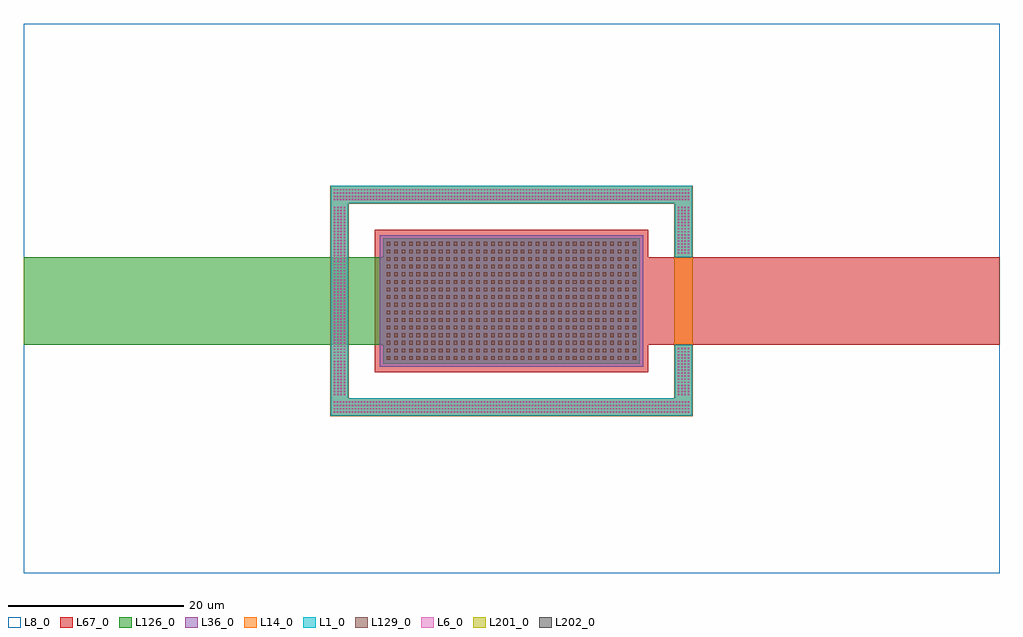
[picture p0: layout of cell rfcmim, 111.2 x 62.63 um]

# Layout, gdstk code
import gdstk
lib = gdstk.Library(unit=1e-6, precision=1e-09)
def R(c, l, rs):  # rectangles x0, y0, x1, y1
    for r in rs: c.add(gdstk.rectangle(r[:2], r[2:], *l))
def A(c, l, x, y, w, h, nx, ny, dx, dy):  # array of equal rectangles
    R(c, l, [(x+i*dx, y+j*dy, x+i*dx+w, y+j*dy+h) for i in range(nx) for j in range(ny)])
def P(c, l, *ps):  # polygons
    for p in ps: c.add(gdstk.Polygon(p, *l))
L1_0 = (1, 0)
L6_0 = (6, 0)
L8_0 = (8, 0)
L14_0 = (14, 0)
L36_0 = (36, 0)
L67_0 = (67, 0)
L126_0 = (126, 0)
L129_0 = (129, 0)
L201_0 = (201, 0)
L202_0 = (202, 0)

rfcmim = lib.new_cell('rfcmim')
P(rfcmim, L1_0, [(3.62,5.75),(3.62,31.95),(44.82,31.95),(44.82,23.85),(42.82,23.85),(42.82,29.95),(5.62,29.95),(5.62,7.75),(42.82,7.75),(42.82,13.85),(44.82,13.85),(44.82,5.75)])
A(rfcmim, L6_0, 3.98, 6.11, 0.16, 0.16, 3, 2, 0.34, 0.37)
A(rfcmim, L6_0, 5.005, 6.11, 0.16, 0.16, 3, 2, 0.34, 0.37)
A(rfcmim, L6_0, 6.03, 6.11, 0.16, 0.16, 3, 2, 0.34, 0.37)
A(rfcmim, L6_0, 7.055, 6.11, 0.16, 0.16, 3, 2, 0.34, 0.37)
A(rfcmim, L6_0, 8.08, 6.11, 0.16, 0.16, 3, 2, 0.34, 0.37)
A(rfcmim, L6_0, 9.105, 6.11, 0.16, 0.16, 3, 2, 0.34, 0.37)
A(rfcmim, L6_0, 10.13, 6.11, 0.16, 0.16, 3, 2, 0.34, 0.37)
A(rfcmim, L6_0, 11.155, 6.11, 0.16, 0.16, 3, 2, 0.34, 0.37)
A(rfcmim, L6_0, 12.18, 6.11, 0.16, 0.16, 3, 2, 0.34, 0.37)
A(rfcmim, L6_0, 13.205, 6.11, 0.16, 0.16, 3, 2, 0.34, 0.37)
A(rfcmim, L6_0, 14.23, 6.11, 0.16, 0.16, 3, 2, 0.34, 0.37)
A(rfcmim, L6_0, 15.255, 6.11, 0.16, 0.16, 3, 2, 0.34, 0.37)
A(rfcmim, L6_0, 16.28, 6.11, 0.16, 0.16, 3, 2, 0.34, 0.37)
A(rfcmim, L6_0, 17.305, 6.11, 0.16, 0.16, 3, 2, 0.34, 0.37)
A(rfcmim, L6_0, 18.33, 6.11, 0.16, 0.16, 3, 2, 0.34, 0.37)
A(rfcmim, L6_0, 19.355, 6.11, 0.16, 0.16, 3, 2, 0.34, 0.37)
A(rfcmim, L6_0, 20.38, 6.11, 0.16, 0.16, 3, 2, 0.34, 0.37)
A(rfcmim, L6_0, 21.405, 6.11, 0.16, 0.16, 3, 2, 0.34, 0.37)
A(rfcmim, L6_0, 22.43, 6.11, 0.16, 0.16, 3, 2, 0.34, 0.37)
A(rfcmim, L6_0, 24.14, 6.11, 0.16, 0.16, 3, 2, 0.34, 0.37)
A(rfcmim, L6_0, 25.165, 6.11, 0.16, 0.16, 3, 2, 0.34, 0.37)
A(rfcmim, L6_0, 26.19, 6.11, 0.16, 0.16, 3, 2, 0.34, 0.37)
A(rfcmim, L6_0, 27.215, 6.11, 0.16, 0.16, 3, 2, 0.34, 0.37)
A(rfcmim, L6_0, 28.24, 6.11, 0.16, 0.16, 3, 2, 0.34, 0.37)
A(rfcmim, L6_0, 29.265, 6.11, 0.16, 0.16, 3, 2, 0.34, 0.37)
A(rfcmim, L6_0, 30.29, 6.11, 0.16, 0.16, 3, 2, 0.34, 0.37)
A(rfcmim, L6_0, 31.315, 6.11, 0.16, 0.16, 3, 2, 0.34, 0.37)
A(rfcmim, L6_0, 32.34, 6.11, 0.16, 0.16, 3, 2, 0.34, 0.37)
A(rfcmim, L6_0, 33.365, 6.11, 0.16, 0.16, 3, 2, 0.34, 0.37)
A(rfcmim, L6_0, 34.39, 6.11, 0.16, 0.16, 3, 2, 0.34, 0.37)
A(rfcmim, L6_0, 35.415, 6.11, 0.16, 0.16, 3, 2, 0.34, 0.37)
A(rfcmim, L6_0, 36.44, 6.11, 0.16, 0.16, 3, 2, 0.34, 0.37)
A(rfcmim, L6_0, 37.465, 6.11, 0.16, 0.16, 3, 2, 0.34, 0.37)
A(rfcmim, L6_0, 38.49, 6.11, 0.16, 0.16, 3, 2, 0.34, 0.37)
A(rfcmim, L6_0, 39.515, 6.11, 0.16, 0.16, 3, 2, 0.34, 0.37)
A(rfcmim, L6_0, 40.54, 6.11, 0.16, 0.16, 3, 2, 0.34, 0.37)
A(rfcmim, L6_0, 41.565, 6.11, 0.16, 0.16, 3, 2, 0.34, 0.37)
A(rfcmim, L6_0, 42.59, 6.11, 0.16, 0.16, 3, 2, 0.34, 0.37)
A(rfcmim, L6_0, 23.455, 6.48, 0.16, 0.16, 1, 3, 0, 0.375)
A(rfcmim, L6_0, 23.795, 6.48, 0.16, 0.16, 1, 3, 0, 0.375)
A(rfcmim, L6_0, 43.615, 6.48, 0.16, 0.16, 1, 3, 0, 0.375)
A(rfcmim, L6_0, 43.955, 6.48, 0.16, 0.16, 1, 3, 0, 0.375)
A(rfcmim, L6_0, 44.3, 6.48, 0.16, 0.16, 1, 3, 0, 0.375)
A(rfcmim, L6_0, 3.98, 6.855, 0.16, 0.16, 3, 2, 0.34, 0.375)
A(rfcmim, L6_0, 5.005, 6.855, 0.16, 0.16, 3, 2, 0.34, 0.375)
A(rfcmim, L6_0, 6.03, 6.855, 0.16, 0.16, 3, 2, 0.34, 0.375)
A(rfcmim, L6_0, 7.055, 6.855, 0.16, 0.16, 3, 2, 0.34, 0.375)
A(rfcmim, L6_0, 8.08, 6.855, 0.16, 0.16, 3, 2, 0.34, 0.375)
A(rfcmim, L6_0, 9.105, 6.855, 0.16, 0.16, 3, 2, 0.34, 0.375)
A(rfcmim, L6_0, 10.13, 6.855, 0.16, 0.16, 3, 2, 0.34, 0.375)
A(rfcmim, L6_0, 11.155, 6.855, 0.16, 0.16, 3, 2, 0.34, 0.375)
A(rfcmim, L6_0, 12.18, 6.855, 0.16, 0.16, 3, 2, 0.34, 0.375)
A(rfcmim, L6_0, 13.205, 6.855, 0.16, 0.16, 3, 2, 0.34, 0.375)
A(rfcmim, L6_0, 14.23, 6.855, 0.16, 0.16, 3, 2, 0.34, 0.375)
A(rfcmim, L6_0, 15.255, 6.855, 0.16, 0.16, 3, 2, 0.34, 0.375)
A(rfcmim, L6_0, 16.28, 6.855, 0.16, 0.16, 3, 2, 0.34, 0.375)
A(rfcmim, L6_0, 17.305, 6.855, 0.16, 0.16, 3, 2, 0.34, 0.375)
A(rfcmim, L6_0, 18.33, 6.855, 0.16, 0.16, 3, 2, 0.34, 0.375)
A(rfcmim, L6_0, 19.355, 6.855, 0.16, 0.16, 3, 2, 0.34, 0.375)
A(rfcmim, L6_0, 20.38, 6.855, 0.16, 0.16, 3, 2, 0.34, 0.375)
A(rfcmim, L6_0, 21.405, 6.855, 0.16, 0.16, 3, 2, 0.34, 0.375)
A(rfcmim, L6_0, 22.43, 6.855, 0.16, 0.16, 3, 2, 0.34, 0.375)
A(rfcmim, L6_0, 24.14, 6.855, 0.16, 0.16, 3, 2, 0.34, 0.375)
A(rfcmim, L6_0, 25.165, 6.855, 0.16, 0.16, 3, 2, 0.34, 0.375)
A(rfcmim, L6_0, 26.19, 6.855, 0.16, 0.16, 3, 2, 0.34, 0.375)
A(rfcmim, L6_0, 27.215, 6.855, 0.16, 0.16, 3, 2, 0.34, 0.375)
A(rfcmim, L6_0, 28.24, 6.855, 0.16, 0.16, 3, 2, 0.34, 0.375)
A(rfcmim, L6_0, 29.265, 6.855, 0.16, 0.16, 3, 2, 0.34, 0.375)
A(rfcmim, L6_0, 30.29, 6.855, 0.16, 0.16, 3, 2, 0.34, 0.375)
A(rfcmim, L6_0, 31.315, 6.855, 0.16, 0.16, 3, 2, 0.34, 0.375)
A(rfcmim, L6_0, 32.34, 6.855, 0.16, 0.16, 3, 2, 0.34, 0.375)
A(rfcmim, L6_0, 33.365, 6.855, 0.16, 0.16, 3, 2, 0.34, 0.375)
A(rfcmim, L6_0, 34.39, 6.855, 0.16, 0.16, 3, 2, 0.34, 0.375)
A(rfcmim, L6_0, 35.415, 6.855, 0.16, 0.16, 3, 2, 0.34, 0.375)
A(rfcmim, L6_0, 36.44, 6.855, 0.16, 0.16, 3, 2, 0.34, 0.375)
A(rfcmim, L6_0, 37.465, 6.855, 0.16, 0.16, 3, 2, 0.34, 0.375)
A(rfcmim, L6_0, 38.49, 6.855, 0.16, 0.16, 3, 2, 0.34, 0.375)
A(rfcmim, L6_0, 39.515, 6.855, 0.16, 0.16, 3, 2, 0.34, 0.375)
A(rfcmim, L6_0, 40.54, 6.855, 0.16, 0.16, 3, 2, 0.34, 0.375)
A(rfcmim, L6_0, 41.565, 6.855, 0.16, 0.16, 3, 2, 0.34, 0.375)
A(rfcmim, L6_0, 42.59, 6.855, 0.16, 0.16, 3, 2, 0.34, 0.375)
A(rfcmim, L6_0, 4.35, 8.11, 0.16, 0.16, 3, 2, 0.375, 0.34)
A(rfcmim, L6_0, 43.55, 8.11, 0.16, 0.16, 3, 2, 0.375, 0.345)
A(rfcmim, L6_0, 3.98, 8.45, 0.16, 0.16, 1, 4, 0, 0.345)
A(rfcmim, L6_0, 4.35, 8.795, 0.16, 0.16, 3, 3, 0.375, 0.345)
A(rfcmim, L6_0, 43.55, 8.805, 0.16, 0.16, 3, 2, 0.375, 0.345)
A(rfcmim, L6_0, 43.18, 9.15, 0.16, 0.16, 1, 3, 0, 0.35)
A(rfcmim, L6_0, 43.55, 9.5, 0.16, 0.16, 3, 2, 0.375, 0.35)
A(rfcmim, L6_0, 3.98, 9.825, 0.16, 0.16, 1, 4, 0, 0.345)
A(rfcmim, L6_0, 4.35, 9.825, 0.16, 0.16, 3, 4, 0.375, 0.345)
A(rfcmim, L6_0, 43.55, 10.195, 0.16, 0.16, 3, 2, 0.375, 0.35)
A(rfcmim, L6_0, 43.18, 10.89, 0.16, 0.16, 1, 3, 0, 0.35)
A(rfcmim, L6_0, 43.55, 10.89, 0.16, 0.16, 3, 3, 0.375, 0.35)
A(rfcmim, L6_0, 3.98, 11.2, 0.16, 0.16, 1, 5, 0, 0.345)
A(rfcmim, L6_0, 4.35, 11.2, 0.16, 0.16, 3, 5, 0.375, 0.345)
A(rfcmim, L6_0, 43.55, 11.935, 0.16, 0.16, 3, 2, 0.375, 0.35)
A(rfcmim, L6_0, 43.18, 12.63, 0.16, 0.16, 1, 3, 0, 0.35)
A(rfcmim, L6_0, 43.55, 12.63, 0.16, 0.16, 3, 3, 0.375, 0.35)
A(rfcmim, L6_0, 3.98, 12.92, 0.16, 0.16, 1, 4, 0, 0.345)
A(rfcmim, L6_0, 4.35, 12.92, 0.16, 0.16, 3, 4, 0.375, 0.345)
A(rfcmim, L6_0, 3.98, 14.295, 0.16, 0.16, 1, 5, 0, 0.345)
A(rfcmim, L6_0, 4.35, 14.295, 0.16, 0.16, 3, 5, 0.375, 0.345)
A(rfcmim, L6_0, 3.98, 16.015, 0.16, 0.16, 1, 4, 0, 0.345)
A(rfcmim, L6_0, 4.35, 16.015, 0.16, 0.16, 3, 4, 0.375, 0.345)
A(rfcmim, L6_0, 3.98, 17.39, 0.16, 0.16, 1, 5, 0, 0.345)
A(rfcmim, L6_0, 4.35, 17.39, 0.16, 0.16, 3, 5, 0.375, 0.345)
A(rfcmim, L6_0, 3.98, 19.11, 0.16, 0.16, 1, 4, 0, 0.345)
A(rfcmim, L6_0, 4.35, 19.11, 0.16, 0.16, 3, 4, 0.375, 0.345)
A(rfcmim, L6_0, 3.98, 20.485, 0.16, 0.16, 1, 4, 0, 0.345)
A(rfcmim, L6_0, 4.35, 20.485, 0.16, 0.16, 3, 4, 0.375, 0.345)
A(rfcmim, L6_0, 3.98, 21.86, 0.16, 0.16, 1, 5, 0, 0.345)
A(rfcmim, L6_0, 4.35, 21.86, 0.16, 0.16, 3, 5, 0.375, 0.345)
A(rfcmim, L6_0, 3.98, 23.58, 0.16, 0.16, 1, 4, 0, 0.345)
A(rfcmim, L6_0, 4.35, 23.58, 0.16, 0.16, 3, 4, 0.375, 0.345)
A(rfcmim, L6_0, 43.55, 24.21, 0.16, 0.16, 3, 2, 0.375, 0.345)
A(rfcmim, L6_0, 43.55, 24.905, 0.16, 0.16, 3, 2, 0.375, 0.345)
A(rfcmim, L6_0, 3.98, 24.955, 0.16, 0.16, 1, 5, 0, 0.345)
A(rfcmim, L6_0, 4.35, 24.955, 0.16, 0.16, 3, 5, 0.375, 0.345)
A(rfcmim, L6_0, 43.18, 25.25, 0.16, 0.16, 1, 3, 0, 0.35)
A(rfcmim, L6_0, 43.55, 25.6, 0.16, 0.16, 3, 2, 0.375, 0.35)
A(rfcmim, L6_0, 43.55, 26.295, 0.16, 0.16, 3, 2, 0.375, 0.35)
A(rfcmim, L6_0, 3.98, 26.675, 0.16, 0.16, 1, 4, 0, 0.345)
A(rfcmim, L6_0, 4.35, 26.675, 0.16, 0.16, 3, 4, 0.375, 0.345)
A(rfcmim, L6_0, 43.18, 26.99, 0.16, 0.16, 1, 3, 0, 0.35)
A(rfcmim, L6_0, 43.55, 26.99, 0.16, 0.16, 3, 3, 0.375, 0.35)
A(rfcmim, L6_0, 43.55, 28.035, 0.16, 0.16, 3, 2, 0.375, 0.35)
A(rfcmim, L6_0, 3.98, 28.05, 0.16, 0.16, 1, 5, 0, 0.345)
A(rfcmim, L6_0, 4.35, 28.05, 0.16, 0.16, 3, 5, 0.375, 0.345)
A(rfcmim, L6_0, 43.18, 28.73, 0.16, 0.16, 1, 3, 0, 0.35)
A(rfcmim, L6_0, 43.55, 28.73, 0.16, 0.16, 3, 3, 0.375, 0.35)
A(rfcmim, L6_0, 3.98, 30.31, 0.16, 0.16, 3, 2, 0.34, 0.37)
A(rfcmim, L6_0, 5.005, 30.31, 0.16, 0.16, 3, 2, 0.34, 0.37)
A(rfcmim, L6_0, 6.03, 30.31, 0.16, 0.16, 3, 2, 0.34, 0.37)
A(rfcmim, L6_0, 7.055, 30.31, 0.16, 0.16, 3, 2, 0.34, 0.37)
A(rfcmim, L6_0, 8.08, 30.31, 0.16, 0.16, 3, 2, 0.34, 0.37)
A(rfcmim, L6_0, 9.105, 30.31, 0.16, 0.16, 3, 2, 0.34, 0.37)
A(rfcmim, L6_0, 10.13, 30.31, 0.16, 0.16, 3, 2, 0.34, 0.37)
A(rfcmim, L6_0, 11.155, 30.31, 0.16, 0.16, 3, 2, 0.34, 0.37)
A(rfcmim, L6_0, 12.18, 30.31, 0.16, 0.16, 3, 2, 0.34, 0.37)
A(rfcmim, L6_0, 13.205, 30.31, 0.16, 0.16, 3, 2, 0.34, 0.37)
A(rfcmim, L6_0, 14.23, 30.31, 0.16, 0.16, 3, 2, 0.34, 0.37)
A(rfcmim, L6_0, 15.255, 30.31, 0.16, 0.16, 3, 2, 0.34, 0.37)
A(rfcmim, L6_0, 16.28, 30.31, 0.16, 0.16, 3, 2, 0.34, 0.37)
A(rfcmim, L6_0, 17.305, 30.31, 0.16, 0.16, 3, 2, 0.34, 0.37)
A(rfcmim, L6_0, 18.33, 30.31, 0.16, 0.16, 3, 2, 0.34, 0.37)
A(rfcmim, L6_0, 19.355, 30.31, 0.16, 0.16, 3, 2, 0.34, 0.37)
A(rfcmim, L6_0, 20.38, 30.31, 0.16, 0.16, 3, 2, 0.34, 0.37)
A(rfcmim, L6_0, 21.405, 30.31, 0.16, 0.16, 3, 2, 0.34, 0.37)
A(rfcmim, L6_0, 22.43, 30.31, 0.16, 0.16, 3, 2, 0.34, 0.37)
A(rfcmim, L6_0, 24.14, 30.31, 0.16, 0.16, 3, 2, 0.34, 0.37)
A(rfcmim, L6_0, 25.165, 30.31, 0.16, 0.16, 3, 2, 0.34, 0.37)
A(rfcmim, L6_0, 26.19, 30.31, 0.16, 0.16, 3, 2, 0.34, 0.37)
A(rfcmim, L6_0, 27.215, 30.31, 0.16, 0.16, 3, 2, 0.34, 0.37)
A(rfcmim, L6_0, 28.24, 30.31, 0.16, 0.16, 3, 2, 0.34, 0.37)
A(rfcmim, L6_0, 29.265, 30.31, 0.16, 0.16, 3, 2, 0.34, 0.37)
A(rfcmim, L6_0, 30.29, 30.31, 0.16, 0.16, 3, 2, 0.34, 0.37)
A(rfcmim, L6_0, 31.315, 30.31, 0.16, 0.16, 3, 2, 0.34, 0.37)
A(rfcmim, L6_0, 32.34, 30.31, 0.16, 0.16, 3, 2, 0.34, 0.37)
A(rfcmim, L6_0, 33.365, 30.31, 0.16, 0.16, 3, 2, 0.34, 0.37)
A(rfcmim, L6_0, 34.39, 30.31, 0.16, 0.16, 3, 2, 0.34, 0.37)
A(rfcmim, L6_0, 35.415, 30.31, 0.16, 0.16, 3, 2, 0.34, 0.37)
A(rfcmim, L6_0, 36.44, 30.31, 0.16, 0.16, 3, 2, 0.34, 0.37)
A(rfcmim, L6_0, 37.465, 30.31, 0.16, 0.16, 3, 2, 0.34, 0.37)
A(rfcmim, L6_0, 38.49, 30.31, 0.16, 0.16, 3, 2, 0.34, 0.37)
A(rfcmim, L6_0, 39.515, 30.31, 0.16, 0.16, 3, 2, 0.34, 0.37)
A(rfcmim, L6_0, 40.54, 30.31, 0.16, 0.16, 3, 2, 0.34, 0.37)
A(rfcmim, L6_0, 41.565, 30.31, 0.16, 0.16, 3, 2, 0.34, 0.37)
A(rfcmim, L6_0, 42.59, 30.31, 0.16, 0.16, 3, 2, 0.34, 0.37)
A(rfcmim, L6_0, 23.455, 30.68, 0.16, 0.16, 1, 3, 0, 0.375)
A(rfcmim, L6_0, 23.795, 30.68, 0.16, 0.16, 1, 3, 0, 0.375)
A(rfcmim, L6_0, 43.615, 30.68, 0.16, 0.16, 1, 3, 0, 0.375)
A(rfcmim, L6_0, 43.955, 30.68, 0.16, 0.16, 1, 3, 0, 0.375)
A(rfcmim, L6_0, 44.3, 30.68, 0.16, 0.16, 1, 3, 0, 0.375)
A(rfcmim, L6_0, 3.98, 31.055, 0.16, 0.16, 3, 2, 0.34, 0.375)
A(rfcmim, L6_0, 5.005, 31.055, 0.16, 0.16, 3, 2, 0.34, 0.375)
A(rfcmim, L6_0, 6.03, 31.055, 0.16, 0.16, 3, 2, 0.34, 0.375)
A(rfcmim, L6_0, 7.055, 31.055, 0.16, 0.16, 3, 2, 0.34, 0.375)
A(rfcmim, L6_0, 8.08, 31.055, 0.16, 0.16, 3, 2, 0.34, 0.375)
A(rfcmim, L6_0, 9.105, 31.055, 0.16, 0.16, 3, 2, 0.34, 0.375)
A(rfcmim, L6_0, 10.13, 31.055, 0.16, 0.16, 3, 2, 0.34, 0.375)
A(rfcmim, L6_0, 11.155, 31.055, 0.16, 0.16, 3, 2, 0.34, 0.375)
A(rfcmim, L6_0, 12.18, 31.055, 0.16, 0.16, 3, 2, 0.34, 0.375)
A(rfcmim, L6_0, 13.205, 31.055, 0.16, 0.16, 3, 2, 0.34, 0.375)
A(rfcmim, L6_0, 14.23, 31.055, 0.16, 0.16, 3, 2, 0.34, 0.375)
A(rfcmim, L6_0, 15.255, 31.055, 0.16, 0.16, 3, 2, 0.34, 0.375)
A(rfcmim, L6_0, 16.28, 31.055, 0.16, 0.16, 3, 2, 0.34, 0.375)
A(rfcmim, L6_0, 17.305, 31.055, 0.16, 0.16, 3, 2, 0.34, 0.375)
A(rfcmim, L6_0, 18.33, 31.055, 0.16, 0.16, 3, 2, 0.34, 0.375)
A(rfcmim, L6_0, 19.355, 31.055, 0.16, 0.16, 3, 2, 0.34, 0.375)
A(rfcmim, L6_0, 20.38, 31.055, 0.16, 0.16, 3, 2, 0.34, 0.375)
A(rfcmim, L6_0, 21.405, 31.055, 0.16, 0.16, 3, 2, 0.34, 0.375)
A(rfcmim, L6_0, 22.43, 31.055, 0.16, 0.16, 3, 2, 0.34, 0.375)
A(rfcmim, L6_0, 24.14, 31.055, 0.16, 0.16, 3, 2, 0.34, 0.375)
A(rfcmim, L6_0, 25.165, 31.055, 0.16, 0.16, 3, 2, 0.34, 0.375)
A(rfcmim, L6_0, 26.19, 31.055, 0.16, 0.16, 3, 2, 0.34, 0.375)
A(rfcmim, L6_0, 27.215, 31.055, 0.16, 0.16, 3, 2, 0.34, 0.375)
A(rfcmim, L6_0, 28.24, 31.055, 0.16, 0.16, 3, 2, 0.34, 0.375)
A(rfcmim, L6_0, 29.265, 31.055, 0.16, 0.16, 3, 2, 0.34, 0.375)
A(rfcmim, L6_0, 30.29, 31.055, 0.16, 0.16, 3, 2, 0.34, 0.375)
A(rfcmim, L6_0, 31.315, 31.055, 0.16, 0.16, 3, 2, 0.34, 0.375)
A(rfcmim, L6_0, 32.34, 31.055, 0.16, 0.16, 3, 2, 0.34, 0.375)
A(rfcmim, L6_0, 33.365, 31.055, 0.16, 0.16, 3, 2, 0.34, 0.375)
A(rfcmim, L6_0, 34.39, 31.055, 0.16, 0.16, 3, 2, 0.34, 0.375)
A(rfcmim, L6_0, 35.415, 31.055, 0.16, 0.16, 3, 2, 0.34, 0.375)
A(rfcmim, L6_0, 36.44, 31.055, 0.16, 0.16, 3, 2, 0.34, 0.375)
A(rfcmim, L6_0, 37.465, 31.055, 0.16, 0.16, 3, 2, 0.34, 0.375)
A(rfcmim, L6_0, 38.49, 31.055, 0.16, 0.16, 3, 2, 0.34, 0.375)
A(rfcmim, L6_0, 39.515, 31.055, 0.16, 0.16, 3, 2, 0.34, 0.375)
A(rfcmim, L6_0, 40.54, 31.055, 0.16, 0.16, 3, 2, 0.34, 0.375)
A(rfcmim, L6_0, 41.565, 31.055, 0.16, 0.16, 3, 2, 0.34, 0.375)
A(rfcmim, L6_0, 42.59, 31.055, 0.16, 0.16, 3, 2, 0.34, 0.375)
R(rfcmim, L6_0, [(23.455,6.11,23.615,6.27), (23.795,6.11,23.955,6.27), (43.615,6.11,43.775,6.27), (43.955,6.11,44.115,6.27), (44.3,6.11,44.46,6.27), (3.98,8.11,4.14,8.27), (43.18,8.11,43.34,8.27), (43.18,8.455,43.34,8.615), (43.18,8.805,43.34,8.965), (43.18,10.195,43.34,10.355), (43.18,10.545,43.34,10.705), (43.18,11.935,43.34,12.095), (43.18,12.285,43.34,12.445), (43.18,24.21,43.34,24.37), (43.18,24.555,43.34,24.715), (43.18,24.905,43.34,25.065), (43.18,26.295,43.34,26.455), (43.18,26.645,43.34,26.805), (43.18,28.035,43.34,28.195), (43.18,28.385,43.34,28.545), (23.455,30.31,23.615,30.47), (23.795,30.31,23.955,30.47), (43.615,30.31,43.775,30.47), (43.955,30.31,44.115,30.47), (44.3,30.31,44.46,30.47)])
P(rfcmim, L8_0, [(-31.38,-12.19),(-31.38,29.95),(5.62,29.95),(5.62,7.75),(42.82,7.75),(42.82,13.85),(44.82,13.85),(44.82,23.85),(42.82,23.85),(42.82,29.95),(-31.38,29.95),(-31.38,50.44),(79.82,50.44),(79.82,-12.19)])
P(rfcmim, L14_0, [(3.59,5.72),(3.59,29.92),(5.65,29.92),(5.65,7.78),(42.79,7.78),(42.79,29.92),(3.59,29.92),(3.59,31.98),(44.85,31.98),(44.85,5.72)])
R(rfcmim, L36_0, [(9.22,11.35,39.22,26.35)])
P(rfcmim, L67_0, [(8.62,10.75),(8.62,26.95),(39.82,26.95),(39.82,23.85),(79.82,23.85),(79.82,13.85),(39.82,13.85),(39.82,10.75)])
P(rfcmim, L126_0, [(9.58,11.71),(9.58,13.85),(-31.38,13.85),(-31.38,23.85),(9.58,23.85),(9.58,25.99),(38.86,25.99),(38.86,11.71)])
A(rfcmim, L129_0, 10.845, 12.13, 0.42, 0.42, 5, 2, 0.85, 0.865)
A(rfcmim, L129_0, 15.09, 12.13, 0.42, 0.42, 6, 2, 0.85, 0.865)
A(rfcmim, L129_0, 20.185, 12.13, 0.42, 0.42, 5, 2, 0.85, 0.865)
A(rfcmim, L129_0, 24.43, 12.13, 0.42, 0.42, 6, 2, 0.85, 0.865)
A(rfcmim, L129_0, 29.525, 12.13, 0.42, 0.42, 5, 2, 0.85, 0.865)
A(rfcmim, L129_0, 33.77, 12.13, 0.42, 0.42, 6, 2, 0.85, 0.865)
A(rfcmim, L129_0, 10.845, 13.865, 0.42, 0.42, 5, 2, 0.85, 0.865)
A(rfcmim, L129_0, 15.09, 13.865, 0.42, 0.42, 6, 2, 0.85, 0.865)
A(rfcmim, L129_0, 20.185, 13.865, 0.42, 0.42, 5, 2, 0.85, 0.865)
A(rfcmim, L129_0, 24.43, 13.865, 0.42, 0.42, 6, 2, 0.85, 0.865)
A(rfcmim, L129_0, 29.525, 13.865, 0.42, 0.42, 5, 2, 0.85, 0.865)
A(rfcmim, L129_0, 33.77, 13.865, 0.42, 0.42, 6, 2, 0.85, 0.865)
A(rfcmim, L129_0, 10, 14.73, 0.42, 0.42, 1, 3, 0, 0.87)
A(rfcmim, L129_0, 10.845, 15.6, 0.42, 0.42, 5, 2, 0.85, 0.87)
A(rfcmim, L129_0, 15.09, 15.6, 0.42, 0.42, 6, 2, 0.85, 0.87)
A(rfcmim, L129_0, 20.185, 15.6, 0.42, 0.42, 5, 2, 0.85, 0.87)
A(rfcmim, L129_0, 24.43, 15.6, 0.42, 0.42, 6, 2, 0.85, 0.87)
A(rfcmim, L129_0, 29.525, 15.6, 0.42, 0.42, 5, 2, 0.85, 0.87)
A(rfcmim, L129_0, 33.77, 15.6, 0.42, 0.42, 6, 2, 0.85, 0.87)
A(rfcmim, L129_0, 10.845, 17.335, 0.42, 0.42, 5, 2, 0.85, 0.87)
A(rfcmim, L129_0, 15.09, 17.335, 0.42, 0.42, 6, 2, 0.85, 0.87)
A(rfcmim, L129_0, 20.185, 17.335, 0.42, 0.42, 5, 2, 0.85, 0.87)
A(rfcmim, L129_0, 24.43, 17.335, 0.42, 0.42, 6, 2, 0.85, 0.87)
A(rfcmim, L129_0, 29.525, 17.335, 0.42, 0.42, 5, 2, 0.85, 0.87)
A(rfcmim, L129_0, 33.77, 17.335, 0.42, 0.42, 6, 2, 0.85, 0.87)
A(rfcmim, L129_0, 10, 19.07, 0.42, 0.42, 1, 3, 0, 0.87)
A(rfcmim, L129_0, 10.845, 19.07, 0.42, 0.42, 5, 3, 0.85, 0.87)
A(rfcmim, L129_0, 15.09, 19.07, 0.42, 0.42, 6, 3, 0.85, 0.87)
A(rfcmim, L129_0, 20.185, 19.07, 0.42, 0.42, 5, 3, 0.85, 0.87)
A(rfcmim, L129_0, 24.43, 19.07, 0.42, 0.42, 6, 3, 0.85, 0.87)
A(rfcmim, L129_0, 29.525, 19.07, 0.42, 0.42, 5, 3, 0.85, 0.87)
A(rfcmim, L129_0, 33.77, 19.07, 0.42, 0.42, 6, 3, 0.85, 0.87)
A(rfcmim, L129_0, 10.845, 21.675, 0.42, 0.42, 5, 2, 0.85, 0.87)
A(rfcmim, L129_0, 15.09, 21.675, 0.42, 0.42, 6, 2, 0.85, 0.87)
A(rfcmim, L129_0, 20.185, 21.675, 0.42, 0.42, 5, 2, 0.85, 0.87)
A(rfcmim, L129_0, 24.43, 21.675, 0.42, 0.42, 6, 2, 0.85, 0.87)
A(rfcmim, L129_0, 29.525, 21.675, 0.42, 0.42, 5, 2, 0.85, 0.87)
A(rfcmim, L129_0, 33.77, 21.675, 0.42, 0.42, 6, 2, 0.85, 0.87)
A(rfcmim, L129_0, 10, 23.41, 0.42, 0.42, 1, 3, 0, 0.87)
A(rfcmim, L129_0, 10.845, 23.41, 0.42, 0.42, 5, 3, 0.85, 0.87)
A(rfcmim, L129_0, 15.09, 23.41, 0.42, 0.42, 6, 3, 0.85, 0.87)
A(rfcmim, L129_0, 20.185, 23.41, 0.42, 0.42, 5, 3, 0.85, 0.87)
A(rfcmim, L129_0, 24.43, 23.41, 0.42, 0.42, 6, 3, 0.85, 0.87)
A(rfcmim, L129_0, 29.525, 23.41, 0.42, 0.42, 5, 3, 0.85, 0.87)
A(rfcmim, L129_0, 33.77, 23.41, 0.42, 0.42, 6, 3, 0.85, 0.87)
R(rfcmim, L129_0, [(10,12.13,10.42,12.55), (10,12.995,10.42,13.415), (10,13.865,10.42,14.285), (10,17.335,10.42,17.755), (10,18.205,10.42,18.625), (10,21.675,10.42,22.095), (10,22.545,10.42,22.965)])
P(rfcmim, L201_0, [(-31.38,13.85),(-31.38,23.85),(-31.38,23.85),(-31.38,13.85)])
P(rfcmim, L202_0, [(79.82,13.85),(79.82,23.85),(79.82,23.85),(79.82,13.85)])

lib.write_gds('rfcmim.gds')
